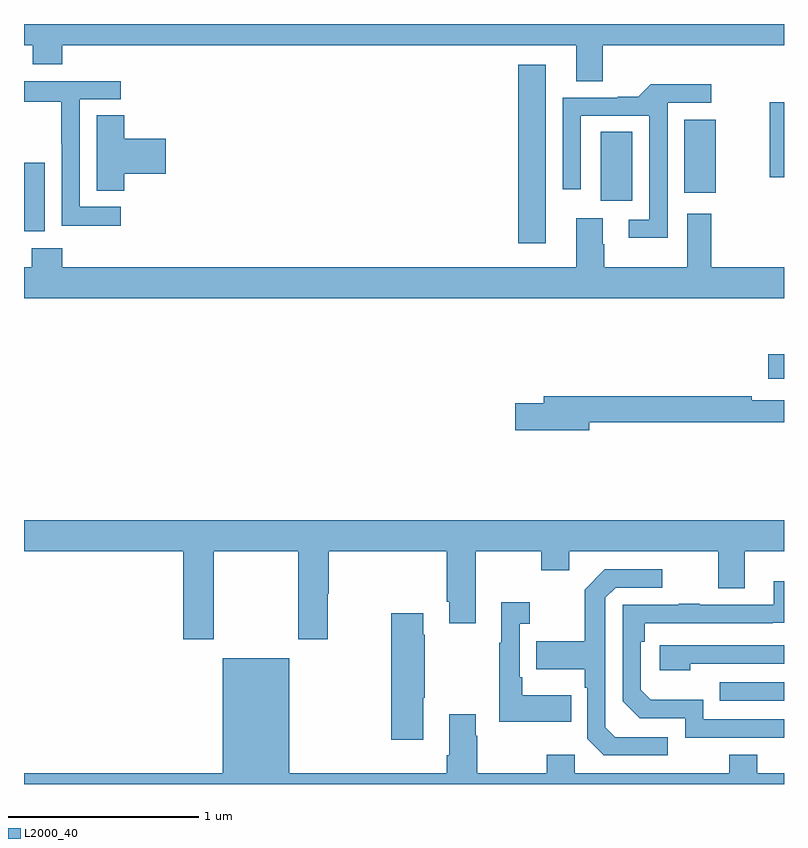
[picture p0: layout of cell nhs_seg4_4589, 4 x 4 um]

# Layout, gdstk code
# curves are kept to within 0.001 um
import gdstk
lib = gdstk.Library(unit=1e-6, precision=1e-09)
def R(c, l, rs):  # rectangles x0, y0, x1, y1
    for r in rs: c.add(gdstk.rectangle(r[:2], r[2:], *l))
def P(c, l, *ps):  # polygons
    for p in ps: c.add(gdstk.Polygon(p, *l))
L2000_40 = (2000, 40)

nhs_seg4_4589 = lib.new_cell('nhs_seg4_4589')
R(nhs_seg4_4589, L2000_40, [(360.661,825.339,361,825.435), (360.918,827.033,361,827.163), (359.6,827.745,359.746,828.685), (357,827.81,357.109,828.171), (360.035,827.97,360.202,828.332), (360.476,828.011,360.64,828.397), (360.926,828.093,361,828.487)])
P(nhs_seg4_4589, L2000_40, [(360.046,828.788),(361,828.788),(361,828.9),(357,828.9),(357,828.788),(357.047,828.788),(357.047,828.689),(357.2,828.689),(357.2,828.788),(359.906,828.788),(359.906,828.598),(360.046,828.598)],
  [(357.508,827.937),(357.294,827.937),(357.294,828.504),(357.508,828.504),(357.508,828.6),(357,828.6),(357,828.492),(357.196,828.492),(357.196,828.268),(357.198,828.268),(357.198,827.839),(357.508,827.839)],
  [(360.387,828.486),(360.616,828.486),(360.616,828.584),(360.299,828.584),(360.233,828.518),(360.125,828.518),(360.125,828.513),(359.835,828.513),(359.835,828.03),(359.931,828.03),(359.931,828.417),(360.291,828.417),(360.291,827.871),(360.183,827.871),(360.183,827.774),(360.387,827.774)],
  [(357.527,828.113),(357.745,828.113),(357.745,828.296),(357.527,828.296),(357.527,828.419),(357.383,828.419),(357.383,828.022),(357.527,828.022)],
  [(361,827.62),(360.617,827.62),(360.617,827.902),(360.491,827.902),(360.491,827.62),(360.054,827.62),(360.054,827.741),(360.046,827.741),(360.046,827.878),(359.906,827.878),(359.906,827.62),(357.2,827.62),(357.2,827.719),(357.04,827.719),(357.04,827.62),(357,827.62),(357,827.456),(361,827.456)],
  [(359.974,826.804),(361,826.804),(361,826.92),(360.83,826.92),(360.83,826.94),(359.735,826.94),(359.735,826.904),(359.586,826.904),(359.586,826.762),(359.974,826.762)],
  [(357.999,826.124),(358.444,826.124),(358.444,825.663),(358.599,825.663),(358.599,825.902),(358.604,825.902),(358.604,826.124),(359.225,826.124),(359.225,825.859),(359.237,825.859),(359.237,825.747),(359.377,825.747),(359.377,826.124),(359.722,826.124),(359.722,826.025),(359.869,826.025),(359.869,826.124),(360.653,826.124),(360.653,825.93),(360.793,825.93),(360.793,826.124),(361,826.124),(361,826.288),(357,826.288),(357,826.124),(357.839,826.124),(357.839,825.663),(357.999,825.663)],
  [(360.388,825.147),(360.111,825.147),(360.06,825.198),(360.06,825.879),(360.114,825.933),(360.358,825.933),(360.358,826.029),(360.057,826.029),(359.952,825.923),(359.952,825.651),(359.695,825.651),(359.695,825.503),(359.952,825.503),(359.952,825.407),(359.964,825.407),(359.964,825.138),(360.051,825.051),(360.388,825.051)],
  [(361,825.24),(360.576,825.24),(360.576,825.343),(360.299,825.343),(360.246,825.396),(360.246,825.65),(360.266,825.65),(360.266,825.747),(361,825.748),(361,825.967),(360.947,825.967),(360.947,825.843),(360.557,825.843),(360.557,825.848),(360.445,825.848),(360.445,825.843),(360.15,825.843),(360.15,825.336),(360.24,825.246),(360.48,825.246),(360.48,825.144),(361,825.144)],
  [(359.879,825.367),(359.623,825.367),(359.623,825.463),(359.61,825.463),(359.61,825.743),(359.662,825.743),(359.662,825.856),(359.513,825.856),(359.513,825.643),(359.502,825.643),(359.502,825.227),(359.879,825.227)],
  [(359.101,825.355),(359.109,825.355),(359.109,825.686),(359.101,825.686),(359.101,825.799),(358.934,825.799),(358.934,825.132),(359.101,825.132)],
  [(360.506,825.534),(361,825.534),(361,825.63),(360.345,825.63),(360.345,825.5),(360.506,825.5)],
  [(361,824.956),(360.859,824.956),(360.859,825.055),(360.712,825.055),(360.712,824.956),(359.898,824.956),(359.898,825.055),(359.752,825.055),(359.752,824.956),(359.385,824.956),(359.385,825.155),(359.377,825.155),(359.377,825.268),(359.237,825.268),(359.237,825.052),(359.225,825.052),(359.225,824.956),(358.396,824.956),(358.396,825.562),(358.046,825.562),(358.046,824.956),(357,824.956),(357,824.9),(361,824.9)])

lib.write_gds('nhs_seg4_4589.gds')
